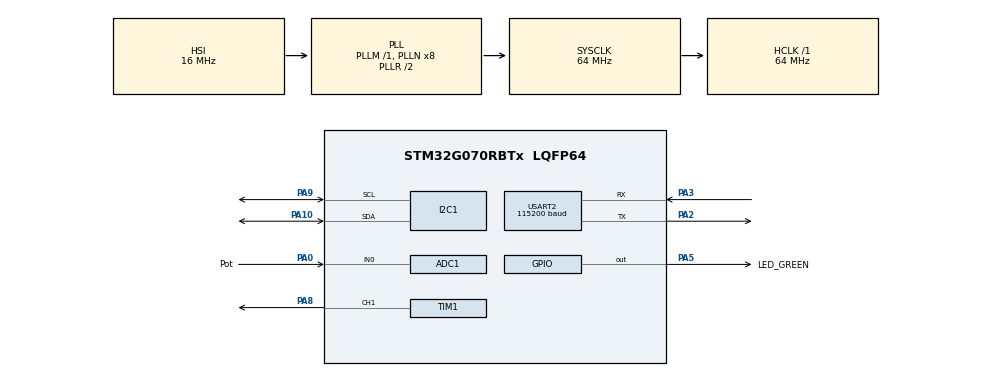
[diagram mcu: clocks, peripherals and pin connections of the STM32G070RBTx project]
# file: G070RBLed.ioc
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ADC1.Channel-0\#ChannelRegularConversion=ADC_CHANNEL_0
ADC1.ClockPrescaler=ADC_CLOCK_ASYNC_DIV32
ADC1.ContinuousConvMode=ENABLE
ADC1.DMAContinuousRequests=ENABLE
ADC1.EOCSelection=ADC_EOC_SEQ_CONV
ADC1.NbrOfConversionFlag=1
ADC1.Overrun=ADC_OVR_DATA_OVERWRITTEN
ADC1.Rank-0\#ChannelRegularConversion=1
ADC1.SamplingTime-0\#ChannelRegularConversion=ADC_SAMPLINGTIME_COMMON_1
ADC1.SamplingTimeCommon1=ADC_SAMPLETIME_12CYCLES_5
ADC1.SamplingTimeCommon2=ADC_SAMPLETIME_1CYCLE_5
ADC1.SelectedChannel=ADC_CHANNEL_0
ADC1.master=1
Dma.ADC1.0.Direction=DMA_PERIPH_TO_MEMORY
Dma.ADC1.0.EventEnable=DISABLE
Dma.ADC1.0.Instance=DMA1_Channel1
Dma.ADC1.0.MemDataAlignment=DMA_MDATAALIGN_WORD
Dma.ADC1.0.MemInc=DMA_MINC_ENABLE
Dma.ADC1.0.Mode=DMA_CIRCULAR
Dma.ADC1.0.PeriphDataAlignment=DMA_PDATAALIGN_WORD
Dma.ADC1.0.PeriphInc=DMA_PINC_DISABLE
Dma.ADC1.0.Polarity=HAL_DMAMUX_REQ_GEN_RISING
Dma.ADC1.0.Priority=DMA_PRIORITY_MEDIUM
Dma.ADC1.0.RequestNumber=1
Dma.ADC1.0.SignalID=NONE
Dma.ADC1.0.SyncEnable=DISABLE
Dma.ADC1.0.SyncPolarity=HAL_DMAMUX_SYNC_NO_EVENT
Dma.ADC1.0.SyncRequestNumber=1
Dma.ADC1.0.SyncSignalID=NONE
Dma.Request0=ADC1
I2C1.Timing=0x10B17DB5
Mcu.Family=STM32G0
Mcu.Name=STM32G070RBTx
Mcu.Package=LQFP64
NVIC.DMA1_Channel1_IRQn=true\:0\:0\:false\:false\:true\:false\:true\:true
PA0.GPIO_Label=Pot
PA0.Mode=IN0
PA0.Signal=ADC1_IN0
PA10.GPIO_Pu=GPIO_PULLUP
PA10.GPIO_Speed=GPIO_SPEED_FREQ_VERY_HIGH
PA10.Mode=I2C
PA10.Signal=I2C1_SDA
PA13.GPIO_Label=TMS
PA13.Mode=Serial_Wire
PA13.Signal=SYS_SWDIO
PA14-BOOT0.GPIO_Label=TCK
PA14-BOOT0.Mode=Serial_Wire
PA14-BOOT0.Signal=SYS_SWCLK
PA2.GPIO_PuPd=GPIO_PULLUP
PA2.GPIO_Speed=GPIO_SPEED_FREQ_HIGH
PA2.Mode=Asynchronous
PA2.Signal=USART2_TX
PA3.GPIO_PuPd=GPIO_PULLUP
PA3.GPIO_Speed=GPIO_SPEED_FREQ_HIGH
PA3.Mode=Asynchronous
PA3.Signal=USART2_RX
PA5.GPIO_Label=LED_GREEN
PA5.GPIO_Speed=GPIO_SPEED_FREQ_HIGH
PA5.Signal=GPIO_Output
PA8.GPIO_ModeDefaultPP=GPIO_MODE_AF_OD
PA8.GPIO_PuPd=GPIO_NOPULL
PA8.GPIO_Speed=GPIO_SPEED_FREQ_HIGH
PA8.PinState=GPIO_PIN_SET
PA8.Signal=S_TIM1_CH1
PA9.GPIO_Pu=GPIO_PULLUP
PA9.GPIO_Speed=GPIO_SPEED_FREQ_VERY_HIGH
PA9.Mode=I2C
PA9.Signal=I2C1_SCL
PC13.Mode=SYS_WakeUp1
PC13.Signal=SYS_WKUP2
PC14-OSC32_IN\ (PC14).Mode=LSE-External-Oscillator
PC14-OSC32_IN\ (PC14).Signal=RCC_OSC32_IN
PC15-OSC32_OUT\ (PC15).Mode=LSE-External-Oscillator
PC15-OSC32_OUT\ (PC15).Signal=RCC_OSC32_OUT
PF0-OSC_IN\ (PF0).GPIO_Label=MCO
PF0-OSC_IN\ (PF0).Mode=HSE-External-Clock-Source
PF0-OSC_IN\ (PF0).Signal=RCC_OSC_IN
ProjectManager.HeapSize=0x200
ProjectManager.StackSize=0x400
ProjectManager.TargetToolchain=STM32CubeIDE
RCC.ADCFreq_Value=64000000
RCC.AHBFreq_Value=64000000
RCC.CortexFreq_Value=64000000
RCC.EXTERNAL_CLOCK_VALUE=12288000
RCC.HCLKFreq_Value=64000000
RCC.HSE_VALUE=8000000
RCC.HSI_VALUE=16000000
RCC.PLLP=RCC_PLLP_DIV4
RCC.SYSCLKFreq_VALUE=64000000
RCC.SYSCLKSource=RCC_SYSCLKSOURCE_PLLCLK
RCC.VCOOutputFreq_Value=128000000
SH.S_TIM1_CH1.0=TIM1_CH1,PWM Generation1 CH1
TIM1.Channel-PWM\ Generation1\ CH1=TIM_CHANNEL_1
TIM1.CounterMode=TIM_COUNTERMODE_CENTERALIGNED1
TIM1.OCMode_PWM-PWM\ Generation1\ CH1=TIM_OCMODE_PWM2
USART2.BaudRate=115200
USART2.VirtualMode-Asynchronous=VM_ASYNC
USART2.WordLength=WORDLENGTH_8B
VP_TIM1_VS_ClockSourceINT.Mode=Internal
board=NUCLEO-G070RB

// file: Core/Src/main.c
/* USER CODE BEGIN Header */
/**
  ******************************************************************************
  * @file           : main.c
  * @brief          : Main program body
  ******************************************************************************
  * @attention
  *
  * Copyright (c) 2024 STMicroelectronics.
  * All rights reserved.
  *
  * This software is licensed under terms that can be found in the LICENSE file
  * in the root directory of this software component.
  * If no LICENSE file comes with this software, it is provided AS-IS.
  *
  ******************************************************************************
  */
/* USER CODE END Header */
#include "main.h"

/* USER CODE BEGIN Includes */
#include <stdio.h>
#include <bmp280.h>

/* USER CODE END Includes */

/* USER CODE BEGIN PD */
#define ADC_BUF_LEN 1
#define ADC_MAX 4095
#define FMLI 10000

/* USER CODE END PD */

ADC_HandleTypeDef hadc1;
DMA_HandleTypeDef hdma_adc1;

I2C_HandleTypeDef hi2c1;

TIM_HandleTypeDef htim1;

UART_HandleTypeDef huart2;

/* USER CODE BEGIN PV */
uint32_t pot[ADC_BUF_LEN];
uint32_t potVal;
uint32_t arrValue = 0;

BMP280_HandleTypedef bmp280;

float pressure, temperature, humidity;

uint8_t Data[256];
uint16_t size;

/* USER CODE END PV */

void SystemClock_Config(void);
static void MX_GPIO_Init(void);
static void MX_DMA_Init(void);
static void MX_USART2_UART_Init(void);
static void MX_I2C1_Init(void);
static void MX_ADC1_Init(void);
static void MX_TIM1_Init(void);

int main(void)
{

  /* MCU Configuration--------------------------------------------------------*/

  /* Reset of all peripherals, Initializes the Flash interface and the Systick. */
  HAL_Init();

  /* Configure the system clock */
  SystemClock_Config();

  /* Initialize all configured peripherals */
  MX_GPIO_Init();
  MX_DMA_Init();
  MX_USART2_UART_Init();
  MX_I2C1_Init();
  MX_ADC1_Init();
  MX_TIM1_Init();
  /* USER CODE BEGIN 2 */
  // Calibration de l'ADC
  HAL_ADCEx_Calibration_Start(&hadc1);
  // Lancement de la 1ere conversion
  HAL_ADC_Start_DMA(&hadc1, (uint32_t*)pot, ADC_BUF_LEN);
  // Initialisation du Timer 1 pour la MLI
  arrValue = (HAL_RCC_GetPCLK1Freq()) / (2 * FMLI * (TIM1->PSC + 1));
  TIM1->ARR = arrValue - 1;
  HAL_TIM_PWM_Start(&htim1, TIM_CHANNEL_1);

  // Gestion du capteur I2C
	bmp280_init_default_params(&bmp280.params);
	bmp280.addr = BMP280_I2C_ADDRESS_0;
	bmp280.i2c = &hi2c1;

	while (!bmp280_init(&bmp280, &bmp280.params)) {
		size = sprintf((char *)Data, "BMP280 initialization failed\n");
		HAL_UART_Transmit(&huart2, Data, size, 1000);
		HAL_Delay(2000);
	}
	bool bme280p = bmp280.id == BME280_CHIP_ID;
	size = sprintf((char *)Data, "BMP280: found %s\n", bme280p ? "BME280" : "BMP280");
	HAL_UART_Transmit(&huart2, Data, size, 1000);
  /* USER CODE END 2 */

  /* Infinite loop */
  while (1)
  {

    /* USER CODE BEGIN 3 */
	  // BME280

		while (!bmp280_read_float(&bmp280, &temperature, &pressure, &humidity)) {
				size = sprintf((char *)Data,
						"Temperature/pressure reading failed\n");
				HAL_UART_Transmit(&huart2, Data, size, 1000);
				HAL_Delay(2000);
			}

			size = sprintf((char *)Data,"Pressure: %.2f Pa, Temperature: %.2f C, Humidity: %.2f, Pot: %lu\n", pressure, temperature, humidity, potVal);
			HAL_UART_Transmit(&huart2, Data, size, 1000);
		HAL_GPIO_TogglePin(LED_GREEN_GPIO_Port, LED_GREEN_Pin);
		HAL_Delay(500);
  }
  /* USER CODE END 3 */
}

void SystemClock_Config(void)
{
  RCC_OscInitTypeDef RCC_OscInitStruct = {0};
  RCC_ClkInitTypeDef RCC_ClkInitStruct = {0};

  /** Configure the main internal regulator output voltage
  */
  HAL_PWREx_ControlVoltageScaling(PWR_REGULATOR_VOLTAGE_SCALE1);

  /** Initializes the RCC Oscillators according to the specified parameters
  * in the RCC_OscInitTypeDef structure.
  */
  RCC_OscInitStruct.OscillatorType = RCC_OSCILLATORTYPE_HSI;
  RCC_OscInitStruct.HSIState = RCC_HSI_ON;
  RCC_OscInitStruct.HSIDiv = RCC_HSI_DIV1;
  RCC_OscInitStruct.HSICalibrationValue = RCC_HSICALIBRATION_DEFAULT;
  RCC_OscInitStruct.PLL.PLLState = RCC_PLL_ON;
  RCC_OscInitStruct.PLL.PLLSource = RCC_PLLSOURCE_HSI;
  RCC_OscInitStruct.PLL.PLLM = RCC_PLLM_DIV1;
  RCC_OscInitStruct.PLL.PLLN = 8;
  RCC_OscInitStruct.PLL.PLLP = RCC_PLLP_DIV4;
  RCC_OscInitStruct.PLL.PLLR = RCC_PLLR_DIV2;
  if (HAL_RCC_OscConfig(&RCC_OscInitStruct) != HAL_OK)
  {
    Error_Handler();
  }

  /** Initializes the CPU, AHB and APB buses clocks
  */
  RCC_ClkInitStruct.ClockType = RCC_CLOCKTYPE_HCLK|RCC_CLOCKTYPE_SYSCLK
                              |RCC_CLOCKTYPE_PCLK1;
  RCC_ClkInitStruct.SYSCLKSource = RCC_SYSCLKSOURCE_PLLCLK;
  RCC_ClkInitStruct.AHBCLKDivider = RCC_SYSCLK_DIV1;
  RCC_ClkInitStruct.APB1CLKDivider = RCC_HCLK_DIV1;

  if (HAL_RCC_ClockConfig(&RCC_ClkInitStruct, FLASH_LATENCY_2) != HAL_OK)
  {
    Error_Handler();
  }
}

static void MX_ADC1_Init(void)
{

  ADC_ChannelConfTypeDef sConfig = {0};

  /** Configure the global features of the ADC (Clock, Resolution, Data Alignment and number of conversion)
  */
  hadc1.Instance = ADC1;
  hadc1.Init.ClockPrescaler = ADC_CLOCK_ASYNC_DIV32;
  hadc1.Init.Resolution = ADC_RESOLUTION_12B;
  hadc1.Init.DataAlign = ADC_DATAALIGN_RIGHT;
  hadc1.Init.ScanConvMode = ADC_SCAN_DISABLE;
  hadc1.Init.EOCSelection = ADC_EOC_SEQ_CONV;
  hadc1.Init.LowPowerAutoWait = DISABLE;
  hadc1.Init.LowPowerAutoPowerOff = DISABLE;
  hadc1.Init.ContinuousConvMode = ENABLE;
  hadc1.Init.NbrOfConversion = 1;
  hadc1.Init.ExternalTrigConv = ADC_SOFTWARE_START;
  hadc1.Init.ExternalTrigConvEdge = ADC_EXTERNALTRIGCONVEDGE_NONE;
  hadc1.Init.DMAContinuousRequests = ENABLE;
  hadc1.Init.Overrun = ADC_OVR_DATA_OVERWRITTEN;
  hadc1.Init.SamplingTimeCommon1 = ADC_SAMPLETIME_12CYCLES_5;
  hadc1.Init.SamplingTimeCommon2 = ADC_SAMPLETIME_1CYCLE_5;
  hadc1.Init.OversamplingMode = DISABLE;
  hadc1.Init.TriggerFrequencyMode = ADC_TRIGGER_FREQ_HIGH;
  if (HAL_ADC_Init(&hadc1) != HAL_OK)
  {
    Error_Handler();
  }

  /** Configure Regular Channel
  */
  sConfig.Channel = ADC_CHANNEL_0;
  sConfig.Rank = ADC_REGULAR_RANK_1;
  sConfig.SamplingTime = ADC_SAMPLINGTIME_COMMON_1;
  if (HAL_ADC_ConfigChannel(&hadc1, &sConfig) != HAL_OK)
  {
    Error_Handler();
  }

}

static void MX_I2C1_Init(void)
{

  hi2c1.Instance = I2C1;
  hi2c1.Init.Timing = 0x10B17DB5;
  hi2c1.Init.OwnAddress1 = 0;
  hi2c1.Init.AddressingMode = I2C_ADDRESSINGMODE_7BIT;
  hi2c1.Init.DualAddressMode = I2C_DUALADDRESS_DISABLE;
  hi2c1.Init.OwnAddress2 = 0;
  hi2c1.Init.OwnAddress2Masks = I2C_OA2_NOMASK;
  hi2c1.Init.GeneralCallMode = I2C_GENERALCALL_DISABLE;
  hi2c1.Init.NoStretchMode = I2C_NOSTRETCH_DISABLE;
  if (HAL_I2C_Init(&hi2c1) != HAL_OK)
  {
    Error_Handler();
  }

  /** Configure Analogue filter
  */
  if (HAL_I2CEx_ConfigAnalogFilter(&hi2c1, I2C_ANALOGFILTER_ENABLE) != HAL_OK)
  {
    Error_Handler();
  }

  /** Configure Digital filter
  */
  if (HAL_I2CEx_ConfigDigitalFilter(&hi2c1, 0) != HAL_OK)
  {
    Error_Handler();
  }

}

static void MX_TIM1_Init(void)
{

  TIM_ClockConfigTypeDef sClockSourceConfig = {0};
  TIM_MasterConfigTypeDef sMasterConfig = {0};
  TIM_OC_InitTypeDef sConfigOC = {0};
  TIM_BreakDeadTimeConfigTypeDef sBreakDeadTimeConfig = {0};

  htim1.Instance = TIM1;
  htim1.Init.Prescaler = 0;
  htim1.Init.CounterMode = TIM_COUNTERMODE_CENTERALIGNED1;
  htim1.Init.Period = 65535;
  htim1.Init.ClockDivision = TIM_CLOCKDIVISION_DIV1;
  htim1.Init.RepetitionCounter = 0;
  htim1.Init.AutoReloadPreload = TIM_AUTORELOAD_PRELOAD_DISABLE;
  if (HAL_TIM_Base_Init(&htim1) != HAL_OK)
  {
    Error_Handler();
  }
  sClockSourceConfig.ClockSource = TIM_CLOCKSOURCE_INTERNAL;
  if (HAL_TIM_ConfigClockSource(&htim1, &sClockSourceConfig) != HAL_OK)
  {
    Error_Handler();
  }
  if (HAL_TIM_PWM_Init(&htim1) != HAL_OK)
  {
    Error_Handler();
  }
  sMasterConfig.MasterOutputTrigger = TIM_TRGO_RESET;
  sMasterConfig.MasterOutputTrigger2 = TIM_TRGO2_RESET;
  sMasterConfig.MasterSlaveMode = TIM_MASTERSLAVEMODE_DISABLE;
  if (HAL_TIMEx_MasterConfigSynchronization(&htim1, &sMasterConfig) != HAL_OK)
  {
    Error_Handler();
  }
  sConfigOC.OCMode = TIM_OCMODE_PWM2;
  sConfigOC.Pulse = 0;
  sConfigOC.OCPolarity = TIM_OCPOLARITY_HIGH;
  sConfigOC.OCNPolarity = TIM_OCNPOLARITY_HIGH;
  sConfigOC.OCFastMode = TIM_OCFAST_DISABLE;
  sConfigOC.OCIdleState = TIM_OCIDLESTATE_RESET;
  sConfigOC.OCNIdleState = TIM_OCNIDLESTATE_RESET;
  if (HAL_TIM_PWM_ConfigChannel(&htim1, &sConfigOC, TIM_CHANNEL_1) != HAL_OK)
  {
    Error_Handler();
  }
  sBreakDeadTimeConfig.OffStateRunMode = TIM_OSSR_DISABLE;
  sBreakDeadTimeConfig.OffStateIDLEMode = TIM_OSSI_DISABLE;
  sBreakDeadTimeConfig.LockLevel = TIM_LOCKLEVEL_OFF;
  sBreakDeadTimeConfig.DeadTime = 0;
  sBreakDeadTimeConfig.BreakState = TIM_BREAK_DISABLE;
  sBreakDeadTimeConfig.BreakPolarity = TIM_BREAKPOLARITY_HIGH;
  sBreakDeadTimeConfig.BreakFilter = 0;
  sBreakDeadTimeConfig.BreakAFMode = TIM_BREAK_AFMODE_INPUT;
  sBreakDeadTimeConfig.Break2State = TIM_BREAK2_DISABLE;
  sBreakDeadTimeConfig.Break2Polarity = TIM_BREAK2POLARITY_HIGH;
  sBreakDeadTimeConfig.Break2Filter = 0;
  sBreakDeadTimeConfig.Break2AFMode = TIM_BREAK_AFMODE_INPUT;
  sBreakDeadTimeConfig.AutomaticOutput = TIM_AUTOMATICOUTPUT_DISABLE;
  if (HAL_TIMEx_ConfigBreakDeadTime(&htim1, &sBreakDeadTimeConfig) != HAL_OK)
  {
    Error_Handler();
  }
  HAL_TIM_MspPostInit(&htim1);

}

static void MX_USART2_UART_Init(void)
{

  huart2.Instance = USART2;
  huart2.Init.BaudRate = 115200;
  huart2.Init.WordLength = UART_WORDLENGTH_8B;
  huart2.Init.StopBits = UART_STOPBITS_1;
  huart2.Init.Parity = UART_PARITY_NONE;
  huart2.Init.Mode = UART_MODE_TX_RX;
  huart2.Init.HwFlowCtl = UART_HWCONTROL_NONE;
  huart2.Init.OverSampling = UART_OVERSAMPLING_16;
  huart2.Init.OneBitSampling = UART_ONE_BIT_SAMPLE_DISABLE;
  huart2.Init.ClockPrescaler = UART_PRESCALER_DIV1;
  huart2.AdvancedInit.AdvFeatureInit = UART_ADVFEATURE_NO_INIT;
  if (HAL_UART_Init(&huart2) != HAL_OK)
  {
    Error_Handler();
  }
  if (HAL_UARTEx_SetTxFifoThreshold(&huart2, UART_TXFIFO_THRESHOLD_1_8) != HAL_OK)
  {
    Error_Handler();
  }
  if (HAL_UARTEx_SetRxFifoThreshold(&huart2, UART_RXFIFO_THRESHOLD_1_8) != HAL_OK)
  {
    Error_Handler();
  }
  if (HAL_UARTEx_DisableFifoMode(&huart2) != HAL_OK)
  {
    Error_Handler();
  }

}

static void MX_DMA_Init(void)
{

  /* DMA controller clock enable */
  __HAL_RCC_DMA1_CLK_ENABLE();

  /* DMA interrupt init */
  /* DMA1_Channel1_IRQn interrupt configuration */
  HAL_NVIC_SetPriority(DMA1_Channel1_IRQn, 0, 0);
  HAL_NVIC_EnableIRQ(DMA1_Channel1_IRQn);

}

static void MX_GPIO_Init(void)
{
  GPIO_InitTypeDef GPIO_InitStruct = {0};

  /* GPIO Ports Clock Enable */
  __HAL_RCC_GPIOC_CLK_ENABLE();
  __HAL_RCC_GPIOF_CLK_ENABLE();
  __HAL_RCC_GPIOA_CLK_ENABLE();

  /*Configure GPIO pin Output Level */
  HAL_GPIO_WritePin(LED_GREEN_GPIO_Port, LED_GREEN_Pin, GPIO_PIN_RESET);

  /*Configure GPIO pin : LED_GREEN_Pin */
  GPIO_InitStruct.Pin = LED_GREEN_Pin;
  GPIO_InitStruct.Mode = GPIO_MODE_OUTPUT_PP;
  GPIO_InitStruct.Pull = GPIO_NOPULL;
  GPIO_InitStruct.Speed = GPIO_SPEED_FREQ_HIGH;
  HAL_GPIO_Init(LED_GREEN_GPIO_Port, &GPIO_InitStruct);

}

/* USER CODE BEGIN 4 */

void HAL_ADC_ConvCpltCallback(ADC_HandleTypeDef* hadc) {
	potVal = pot[0];
	TIM1->CCR1=(potVal * TIM1->ARR) / ADC_MAX;
}
/* USER CODE END 4 */

void Error_Handler(void)
{
  __disable_irq();
  while (1)
  {
  }
}
